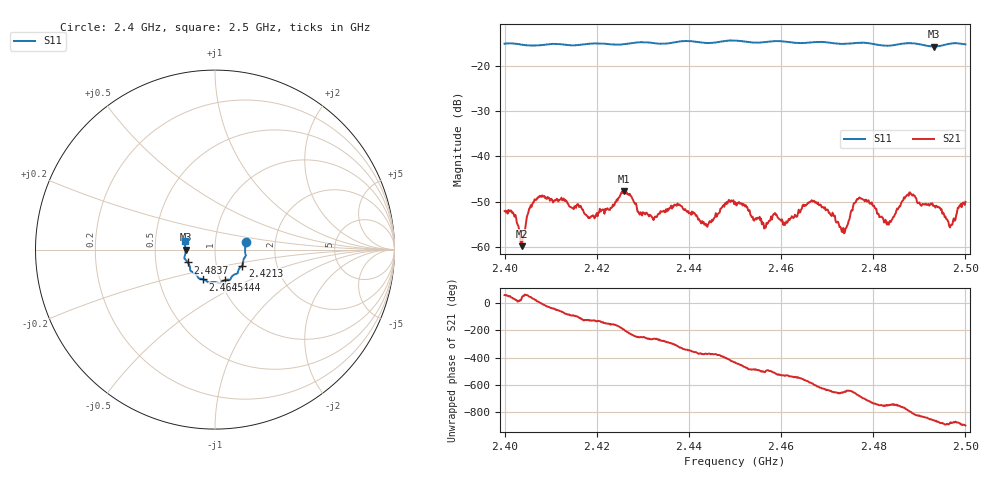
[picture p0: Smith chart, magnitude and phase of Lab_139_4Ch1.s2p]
# Hz S RI R 50
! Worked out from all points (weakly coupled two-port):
!   601 points, 2.4 GHz to 2.5 GHz, reference 50 ohm
!   highest |S21| = -47.66 dB at 2.4258 GHz (marker M1); lowest = -59.9 dB at 2.4037 GHz (marker M2)
!   lowest |S11| = -15.7 dB at 2.4932 GHz (marker M3), VSWR 1.39, Z = 35.9 - j0.0507 ohm
!   |S11| at or under -10 dB: start of sweep to end of sweep
!   S12 and S22 are empty: the file has one direction only
!   S11 on the Smith chart (normalised r, x): 2.4 GHz: 1.41, +0.12; 2.4213 GHz: 1.33, -0.25; 2.444 GHz: 1.06, -0.37; 2.4645 GHz: 0.83, -0.29; 2.4837 GHz: 0.73, -0.11; 2.5 GHz: 0.71, +0.07
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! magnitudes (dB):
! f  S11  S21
! 2.4 GHz  -15.1  -52.1
! 2.402 GHz  -15.1  -52.9
! 2.4037 GHz  -15.3  -59.9
! 2.4077 GHz  -15.4  -48.7
! 2.4167 GHz  -15.3  -51.3
! 2.4213 GHz  -15.1  -51.7
! 2.4258 GHz  -15.2  -47.7
! 2.4333 GHz  -15.1  -52.7
! 2.438 GHz  -14.6  -50.7
! 2.444 GHz  -15.0  -55.6
! 2.45 GHz  -14.4  -50.1
! 2.4563 GHz  -14.8  -56.0
! 2.4645 GHz  -15.0  -51.6
! 2.4667 GHz  -14.8  -49.7
! 2.4735 GHz  -15.1  -55.8
! 2.477 GHz  -14.9  -49.1
! 2.4833 GHz  -15.6  -55.1
! 2.4837 GHz  -15.5  -54.3
! 2.4877 GHz  -15.0  -48.7
! 2.4932 GHz  -15.7  -50.9
! 2.4968 GHz  -15.1  -55.2
! 2.5 GHz  -15.3  -50.1
